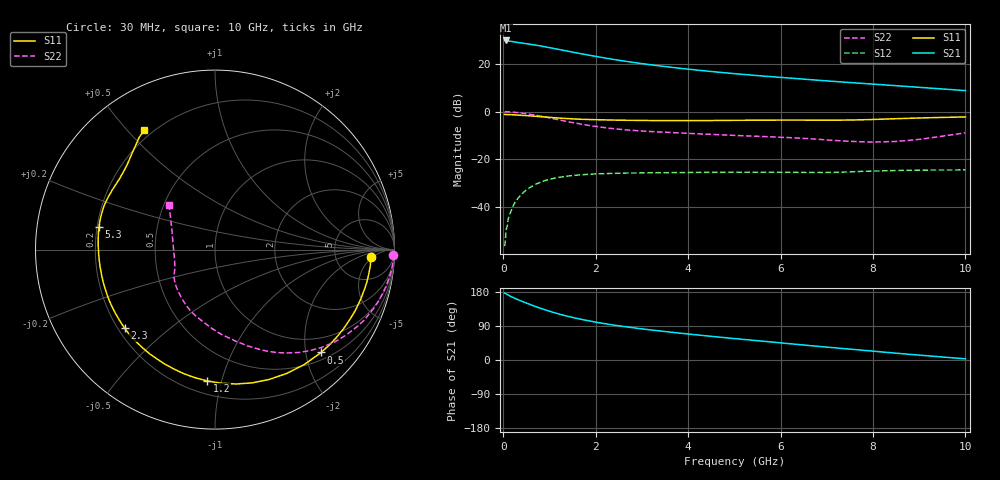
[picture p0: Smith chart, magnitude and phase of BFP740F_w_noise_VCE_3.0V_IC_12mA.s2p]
! Infineon Technologies  Discrete & RF Semiconductors
! BFP740F
! VCE =  3.0 V,  IC =  12 mA
! Common Emitter S-Parameters:  Oct 2012
# GHz  S  MA  R  50
!  f  S11  S21  S12  S22
! GHz  MAG  ANG  MAG  ANG  MAG  ANG  MAG  ANG
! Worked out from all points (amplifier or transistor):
!   99 points, 30 MHz to 10 GHz, reference 50 ohm
!   highest |S21| = 29.9 dB at 50 MHz (marker M1)
!   |S21| within 3 dB of that: start of sweep to 998.4 MHz
!   unconditionally stable (mu >= 1): 6.463 GHz to end of sweep
!   at 350 MHz: K = 0.09, MSG = 32.3 dB, |S12| = -35.7 dB
!   at 3.5 GHz: K = 0.54, MSG = 22.3 dB, |S12| = -25.6 dB
!   at 10 GHz: K = 1.26, MAG = 13.6 dB, |S12| = -24.5 dB
!   lowest NFmin = 0.48 dB at 450 MHz
!   S11 on the Smith chart (normalised r, x): 30 MHz: 13, -5; 500 MHz: 0.65, -2.31; 1.2 GHz: 0.28, -0.90; 2.3 GHz: 0.23, -0.36; 5.3 GHz: 0.21, +0.09; 10 GHz: 0.17, +0.56
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0.03  0.8716 -2.8  30.9 176.8  0.0015 80.6  0.9942 -1.7
0.05  0.8692 -4.6  31.12 175.5  0.0023 94.8  0.9939 -2.9
0.11  0.8661 -10.3  30.44 171.2  0.0057 85.9  0.9896 -6.7
0.2  0.8578 -18.5  29.44 165.6  0.0098 80.4  0.975 -12.0
0.4  0.8351 -35.9  27.55 155.1  0.0187 71.1  0.9295 -22.9
0.5  0.8236 -44.1  26.61 150.4  0.0228 66.5  0.903 -28.1
0.6  0.8108 -52.1  25.71 145.6  0.0263 62.2  0.8719 -33.1
0.8  0.784 -67.4  23.95 136.7  0.0328 54.8  0.8063 -42.5
1  0.7581 -81.0  22.01 128.8  0.0379 48.0  0.7378 -51.0
1.2  0.7334 -93.3  20.18 121.6  0.0416 42.4  0.6726 -58.6
1.4  0.713 -104.1  18.49 115.2  0.0444 37.7  0.615 -65.3
1.7  0.6896 -118.0  16.27 107.0  0.0473 32.1  0.5425 -74.3
2  0.6764 -129.5  14.45 100.0  0.0493 27.7  0.4891 -82.7
2.3  0.6669 -139.1  12.86 93.9  0.0503 23.9  0.4481 -90.4
2.8  0.6555 -151.7  10.83 85.3  0.0514 19.7  0.4037 -100.4
3.4  0.6487 -163.6  9.07 76.5  0.0524 16.1  0.3732 -109.9
4.2  0.6477 -176.3  7.427 66.2  0.0529 13.2  0.3428 -119.4
5.1  0.6571 171.3  6.143 55.5  0.0533 10.9  0.3137 -129.8
5.3  0.6586 168.8  5.915 53.2  0.0535 10.3  0.3081 -132.1
6.7  0.6618 151.2  4.639 37.4  0.0528 9.2  0.267 -148.5
8.5  0.7094 130.5  3.495 18.0  0.0581 9.4  0.2361 171.9
10  0.7726 120.8  2.758 3.1  0.0598 6.5  0.3587 135.7
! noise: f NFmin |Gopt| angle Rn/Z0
0.45  0.48  0.16  5  0.24
0.9  0.53  0.17  13  0.13
1.5  0.6  0.18  23  0.06
1.9  0.64  0.17  33  0.05
2.4  0.69  0.17  47  0.05
3.5  0.8  0.14  69  0.13
5.5  0.99  0.09  140  0.21
10  1.39  0.38  -115  0.11
